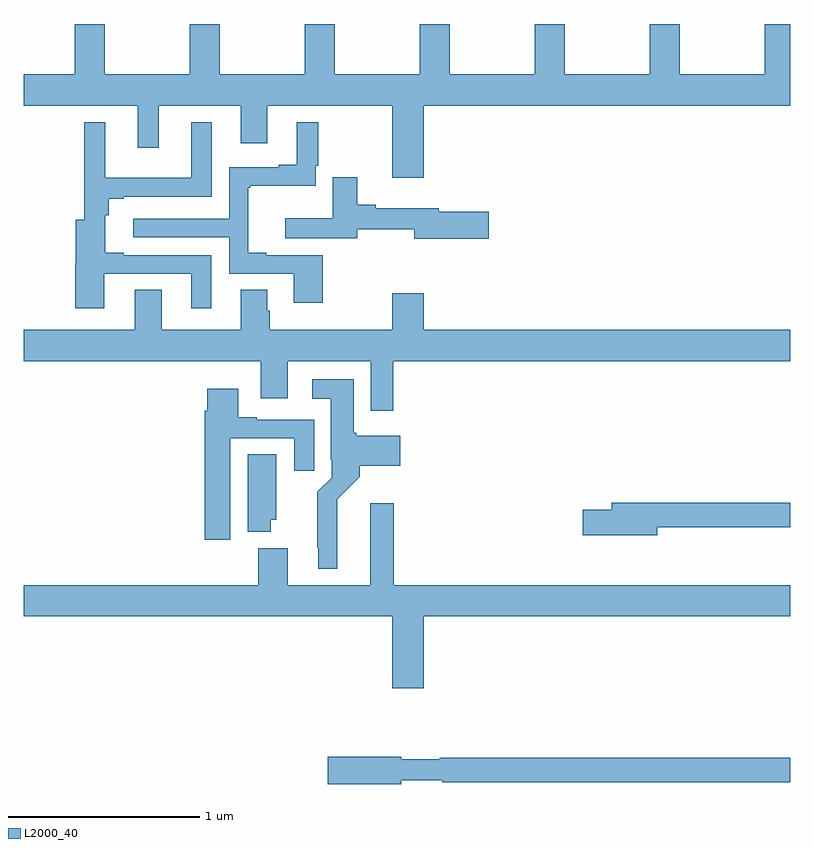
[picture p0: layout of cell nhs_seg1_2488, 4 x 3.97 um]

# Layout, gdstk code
import gdstk
lib = gdstk.Library(unit=1e-6, precision=1e-09)
def P(c, l, *ps):  # polygons
    for p in ps: c.add(gdstk.Polygon(p, *l))
L2000_40 = (2000, 40)

nhs_seg1_2488 = lib.new_cell('nhs_seg1_2488')
P(nhs_seg1_2488, L2000_40, [(247.267,511.936),(247,511.936),(247,511.772),(247.595,511.772),(247.595,511.554),(247.705,511.554),(247.705,511.772),(248.132,511.772),(248.132,511.578),(248.272,511.578),(248.272,511.772),(248.924,511.772),(248.924,511.398),(249.088,511.398),(249.088,511.772),(251,511.772),(251,512.199),(250.867,512.199),(250.867,511.936),(250.422,511.936),(250.422,512.199),(250.267,512.199),(250.267,511.936),(249.822,511.936),(249.822,512.199),(249.667,512.199),(249.667,511.936),(249.222,511.936),(249.222,512.199),(249.067,512.199),(249.067,511.936),(248.622,511.936),(248.622,512.199),(248.467,512.199),(248.467,511.936),(248.022,511.936),(248.022,512.199),(247.867,512.199),(247.867,511.936),(247.422,511.936),(247.422,512.199),(247.267,512.199)],
  [(248.561,510.993),(248.266,510.993),(248.266,511.006),(248.171,511.006),(248.171,511.344),(248.182,511.344),(248.182,511.355),(248.523,511.355),(248.523,511.459),(248.536,511.459),(248.536,511.687),(248.426,511.687),(248.426,511.465),(248.33,511.465),(248.33,511.452),(248.073,511.452),(248.073,511.182),(247.572,511.182),(247.572,511.086),(248.073,511.086),(248.073,510.897),(248.408,510.897),(248.408,510.744),(248.561,510.744)],
  [(247.42,510.897),(247.874,510.897),(247.874,510.717),(247.978,510.717),(247.978,510.993),(247.522,510.993),(247.522,511.006),(247.426,511.006),(247.426,511.202),(247.444,511.202),(247.444,511.287),(247.522,511.287),(247.522,511.299),(247.981,511.299),(247.981,511.687),(247.874,511.687),(247.874,511.396),(247.426,511.396),(247.426,511.687),(247.315,511.687),(247.315,511.177),(247.273,511.177),(247.273,510.951),(247.268,510.951),(247.268,510.717),(247.42,510.717)],
  [(249.427,511.22),(249.166,511.22),(249.166,511.237),(248.836,511.237),(248.836,511.256),(248.74,511.256),(248.74,511.399),(248.612,511.399),(248.612,511.186),(248.364,511.186),(248.364,511.082),(248.74,511.082),(248.74,511.128),(249.038,511.128),(249.038,511.078),(249.427,511.078)],
  [(248.927,510.44),(251,510.44),(251,510.604),(249.088,510.604),(249.088,510.793),(248.924,510.793),(248.924,510.604),(248.285,510.604),(248.285,510.702),(248.272,510.702),(248.272,510.812),(248.132,510.812),(248.132,510.604),(247.72,510.604),(247.72,510.812),(247.58,510.812),(247.58,510.604),(247,510.604),(247,510.44),(248.237,510.44),(248.237,510.246),(248.377,510.246),(248.377,510.44),(248.811,510.44),(248.811,510.18),(248.927,510.18)],
  [(248.635,509.72),(248.753,509.838),(248.753,509.894),(248.965,509.894),(248.965,510.052),(248.736,510.052),(248.736,510.066),(248.722,510.066),(248.722,510.346),(248.505,510.346),(248.505,510.245),(248.603,510.245),(248.603,509.926),(248.607,509.926),(248.607,509.832),(248.533,509.758),(248.533,509.467),(248.537,509.467),(248.537,509.357),(248.635,509.357)],
  [(248.077,510.039),(248.411,510.039),(248.411,509.868),(248.515,509.868),(248.515,510.135),(248.215,510.135),(248.215,510.148),(248.119,510.148),(248.119,510.295),(247.958,510.295),(247.958,510.182),(247.946,510.182),(247.946,509.508),(248.077,509.508)],
  [(248.29,509.613),(248.317,509.613),(248.317,509.954),(248.168,509.954),(248.168,509.549),(248.29,509.549)],
  [(250.306,509.574),(251,509.574),(251,509.702),(250.067,509.702),(250.067,509.666),(249.918,509.666),(249.918,509.531),(250.306,509.531)],
  [(249.088,509.108),(251,509.108),(251,509.272),(248.93,509.272),(248.93,509.698),(248.807,509.698),(248.807,509.272),(248.377,509.272),(248.377,509.464),(248.225,509.464),(248.225,509.272),(247,509.272),(247,509.108),(248.924,509.108),(248.924,508.734),(249.088,508.734)],
  [(248.97,508.254),(249.184,508.254),(249.184,508.242),(251,508.242),(251,508.37),(249.17,508.37),(249.17,508.363),(248.97,508.363),(248.97,508.376),(248.586,508.376),(248.586,508.234),(248.97,508.234)])

lib.write_gds('nhs_seg1_2488.gds')
